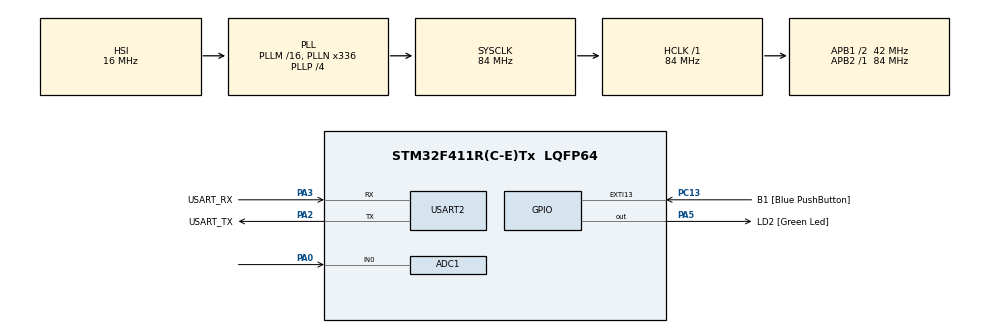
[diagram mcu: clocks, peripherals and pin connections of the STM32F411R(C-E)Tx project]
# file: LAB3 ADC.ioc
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ADC1.Channel-0\#ChannelRegularConversion=ADC_CHANNEL_0
ADC1.NbrOfConversionFlag=1
ADC1.Rank-0\#ChannelRegularConversion=1
ADC1.SamplingTime-0\#ChannelRegularConversion=ADC_SAMPLETIME_3CYCLES
ADC1.master=1
Mcu.Family=STM32F4
Mcu.Name=STM32F411R(C-E)Tx
Mcu.Package=LQFP64
NVIC.PriorityGroup=NVIC_PRIORITYGROUP_0
PA0-WKUP.Signal=ADCx_IN0
PA13.GPIO_Label=TMS
PA13.Mode=Serial_Wire
PA13.Signal=SYS_JTMS-SWDIO
PA14.GPIO_Label=TCK
PA14.Mode=Serial_Wire
PA14.Signal=SYS_JTCK-SWCLK
PA2.GPIO_Label=USART_TX
PA2.Mode=Asynchronous
PA2.Signal=USART2_TX
PA3.GPIO_Label=USART_RX
PA3.Mode=Asynchronous
PA3.Signal=USART2_RX
PA5.GPIO_Label=LD2 [Green Led]
PA5.Signal=GPIO_Output
PB3.GPIO_Label=SWO
PB3.Signal=SYS_JTDO-SWO
PC13-ANTI_TAMP.GPIO_Label=B1 [Blue PushButton]
PC13-ANTI_TAMP.GPIO_ModeDefaultEXTI=GPIO_MODE_IT_FALLING
PC13-ANTI_TAMP.Signal=GPXTI13
PC14-OSC32_IN.Mode=LSE-External-Oscillator
PC14-OSC32_IN.Signal=RCC_OSC32_IN
PC15-OSC32_OUT.Mode=LSE-External-Oscillator
PC15-OSC32_OUT.Signal=RCC_OSC32_OUT
PH0\ -\ OSC_IN.Mode=HSE-External-Clock-Source
PH0\ -\ OSC_IN.Signal=RCC_OSC_IN
PH1\ -\ OSC_OUT.Mode=HSE-External-Clock-Source
PH1\ -\ OSC_OUT.Signal=RCC_OSC_OUT
ProjectManager.HeapSize=0x200
ProjectManager.StackSize=0x400
ProjectManager.TargetToolchain=STM32CubeIDE
RCC.48MHZClocksFreq_Value=84000000
RCC.AHBFreq_Value=84000000
RCC.APB1CLKDivider=RCC_HCLK_DIV2
RCC.APB1Freq_Value=42000000
RCC.APB1TimFreq_Value=84000000
RCC.APB2Freq_Value=84000000
RCC.APB2TimFreq_Value=84000000
RCC.CortexFreq_Value=84000000
RCC.FLatency-AdvancedSettings=FLASH_LATENCY_2
RCC.HCLKFreq_Value=84000000
RCC.HSE_VALUE=8000000
RCC.HSI_VALUE=16000000
RCC.PLLN=336
RCC.PLLP=RCC_PLLP_DIV4
RCC.SYSCLKFreq_VALUE=84000000
RCC.SYSCLKSource=RCC_SYSCLKSOURCE_PLLCLK
RCC.VCOOutputFreq_Value=336000000
SH.ADCx_IN0.0=ADC1_IN0,IN0
USART2.VirtualMode=VM_ASYNC
board=NUCLEO-F411RE

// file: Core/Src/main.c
/* USER CODE BEGIN Header */
/**
  ******************************************************************************
  * @file           : main.c
  * @brief          : Main program body
  ******************************************************************************
  * @attention
  *
  * <h2><center>&copy; Copyright (c) 2021 STMicroelectronics.
  * All rights reserved.</center></h2>
  *
  * This software component is licensed by ST under BSD 3-Clause license,
  * the "License"; You may not use this file except in compliance with the
  * License. You may obtain a copy of the License at:
  *                        opensource.org/licenses/BSD-3-Clause
  *
  ******************************************************************************
  */
/* USER CODE END Header */
#include "main.h"

ADC_HandleTypeDef hadc1;

UART_HandleTypeDef huart2;

/* USER CODE BEGIN PV */
int ADCMode = 0;
float ADCOutputConverted = 0;
int V25 = 760; //mV //from datasheet
float Avg_Slope = 2.5; // from datasheet
typedef struct
{
	ADC_ChannelConfTypeDef Config;
	uint32_t Data;
} ADCStructure;

ADCStructure ADCChannel[2] = {0};

/* USER CODE END PV */

void SystemClock_Config(void);
static void MX_GPIO_Init(void);
static void MX_USART2_UART_Init(void);
static void MX_ADC1_Init(void);
/* USER CODE BEGIN PFP */
void ADCPollingMethodInit(); // init Config of 3 ADC
void ADCPollingMethodUpdate(); // read ADC From 3 Sourse(In0,In1,Temp)
/* USER CODE END PFP */

int main(void)
{

  /* MCU Configuration--------------------------------------------------------*/

  /* Reset of all peripherals, Initializes the Flash interface and the Systick. */
  HAL_Init();

  /* Configure the system clock */
  SystemClock_Config();

  /* Initialize all configured peripherals */
  MX_GPIO_Init();
  MX_USART2_UART_Init();
  MX_ADC1_Init();
  /* USER CODE BEGIN 2 */
  ADCPollingMethodInit();
  /* USER CODE END 2 */

  /* Infinite loop */
  while (1)
  {

    /* USER CODE BEGIN 3 */

	//read analog
	ADCPollingMethodUpdate();

  }
  /* USER CODE END 3 */
}

void SystemClock_Config(void)
{
  RCC_OscInitTypeDef RCC_OscInitStruct = {0};
  RCC_ClkInitTypeDef RCC_ClkInitStruct = {0};

  /** Configure the main internal regulator output voltage
  */
  __HAL_RCC_PWR_CLK_ENABLE();
  __HAL_PWR_VOLTAGESCALING_CONFIG(PWR_REGULATOR_VOLTAGE_SCALE1);
  /** Initializes the RCC Oscillators according to the specified parameters
  * in the RCC_OscInitTypeDef structure.
  */
  RCC_OscInitStruct.OscillatorType = RCC_OSCILLATORTYPE_HSI;
  RCC_OscInitStruct.HSIState = RCC_HSI_ON;
  RCC_OscInitStruct.HSICalibrationValue = RCC_HSICALIBRATION_DEFAULT;
  RCC_OscInitStruct.PLL.PLLState = RCC_PLL_ON;
  RCC_OscInitStruct.PLL.PLLSource = RCC_PLLSOURCE_HSI;
  RCC_OscInitStruct.PLL.PLLM = 16;
  RCC_OscInitStruct.PLL.PLLN = 336;
  RCC_OscInitStruct.PLL.PLLP = RCC_PLLP_DIV4;
  RCC_OscInitStruct.PLL.PLLQ = 4;
  if (HAL_RCC_OscConfig(&RCC_OscInitStruct) != HAL_OK)
  {
    Error_Handler();
  }
  /** Initializes the CPU, AHB and APB buses clocks
  */
  RCC_ClkInitStruct.ClockType = RCC_CLOCKTYPE_HCLK|RCC_CLOCKTYPE_SYSCLK
                              |RCC_CLOCKTYPE_PCLK1|RCC_CLOCKTYPE_PCLK2;
  RCC_ClkInitStruct.SYSCLKSource = RCC_SYSCLKSOURCE_PLLCLK;
  RCC_ClkInitStruct.AHBCLKDivider = RCC_SYSCLK_DIV1;
  RCC_ClkInitStruct.APB1CLKDivider = RCC_HCLK_DIV2;
  RCC_ClkInitStruct.APB2CLKDivider = RCC_HCLK_DIV1;

  if (HAL_RCC_ClockConfig(&RCC_ClkInitStruct, FLASH_LATENCY_2) != HAL_OK)
  {
    Error_Handler();
  }
}

static void MX_ADC1_Init(void)
{

  ADC_ChannelConfTypeDef sConfig = {0};

  /** Configure the global features of the ADC (Clock, Resolution, Data Alignment and number of conversion)
  */
  hadc1.Instance = ADC1;
  hadc1.Init.ClockPrescaler = ADC_CLOCK_SYNC_PCLK_DIV4;
  hadc1.Init.Resolution = ADC_RESOLUTION_12B;
  hadc1.Init.ScanConvMode = DISABLE;
  hadc1.Init.ContinuousConvMode = DISABLE;
  hadc1.Init.DiscontinuousConvMode = DISABLE;
  hadc1.Init.ExternalTrigConvEdge = ADC_EXTERNALTRIGCONVEDGE_NONE;
  hadc1.Init.ExternalTrigConv = ADC_SOFTWARE_START;
  hadc1.Init.DataAlign = ADC_DATAALIGN_RIGHT;
  hadc1.Init.NbrOfConversion = 1;
  hadc1.Init.DMAContinuousRequests = DISABLE;
  hadc1.Init.EOCSelection = ADC_EOC_SINGLE_CONV;
  if (HAL_ADC_Init(&hadc1) != HAL_OK)
  {
    Error_Handler();
  }
  /** Configure for the selected ADC regular channel its corresponding rank in the sequencer and its sample time.
  */
  sConfig.Channel = ADC_CHANNEL_0;
  sConfig.Rank = 1;
  sConfig.SamplingTime = ADC_SAMPLETIME_3CYCLES;
  if (HAL_ADC_ConfigChannel(&hadc1, &sConfig) != HAL_OK)
  {
    Error_Handler();
  }

}

static void MX_USART2_UART_Init(void)
{

  huart2.Instance = USART2;
  huart2.Init.BaudRate = 115200;
  huart2.Init.WordLength = UART_WORDLENGTH_8B;
  huart2.Init.StopBits = UART_STOPBITS_1;
  huart2.Init.Parity = UART_PARITY_NONE;
  huart2.Init.Mode = UART_MODE_TX_RX;
  huart2.Init.HwFlowCtl = UART_HWCONTROL_NONE;
  huart2.Init.OverSampling = UART_OVERSAMPLING_16;
  if (HAL_UART_Init(&huart2) != HAL_OK)
  {
    Error_Handler();
  }

}

static void MX_GPIO_Init(void)
{
  GPIO_InitTypeDef GPIO_InitStruct = {0};

  /* GPIO Ports Clock Enable */
  __HAL_RCC_GPIOC_CLK_ENABLE();
  __HAL_RCC_GPIOH_CLK_ENABLE();
  __HAL_RCC_GPIOA_CLK_ENABLE();
  __HAL_RCC_GPIOB_CLK_ENABLE();

  /*Configure GPIO pin Output Level */
  HAL_GPIO_WritePin(LD2_GPIO_Port, LD2_Pin, GPIO_PIN_RESET);

  /*Configure GPIO pin : B1_Pin */
  GPIO_InitStruct.Pin = B1_Pin;
  GPIO_InitStruct.Mode = GPIO_MODE_IT_FALLING;
  GPIO_InitStruct.Pull = GPIO_NOPULL;
  HAL_GPIO_Init(B1_GPIO_Port, &GPIO_InitStruct);

  /*Configure GPIO pin : LD2_Pin */
  GPIO_InitStruct.Pin = LD2_Pin;
  GPIO_InitStruct.Mode = GPIO_MODE_OUTPUT_PP;
  GPIO_InitStruct.Pull = GPIO_NOPULL;
  GPIO_InitStruct.Speed = GPIO_SPEED_FREQ_LOW;
  HAL_GPIO_Init(LD2_GPIO_Port, &GPIO_InitStruct);

}

/* USER CODE BEGIN 4 */

void ADCPollingMethodInit()
{

	//PA0 - ADC IN0
	ADCChannel[0].Config.Channel = ADC_CHANNEL_0;
	ADCChannel[0].Config.Rank = 1;
	ADCChannel[0].Config.SamplingTime = ADC_SAMPLETIME_3CYCLES;

	//Temp
	ADCChannel[1].Config.Channel = ADC_CHANNEL_TEMPSENSOR;
	ADCChannel[1].Config.Rank = 1;
	ADCChannel[1].Config.SamplingTime = ADC_SAMPLETIME_3CYCLES;

}
void ADCPollingMethodUpdate()
{
	if(HAL_GPIO_ReadPin(GPIOC, GPIO_PIN_13) == GPIO_PIN_RESET)
	{
		ADCMode = 1;
		HAL_ADC_ConfigChannel(&hadc1, &ADCChannel[1].Config); // select channal
		HAL_ADC_Start(&hadc1); // ADC sampling ,Convert
		if(HAL_ADC_PollForConversion(&hadc1, 10) == HAL_OK) // Wait ADC
		{
			ADCChannel[1].Data = HAL_ADC_GetValue(&hadc1); // Get Value
		}
		HAL_ADC_Stop(&hadc1); // Stop
		ADCOutputConverted = (((((ADCChannel[1].Data * 3.3 * 1000) / 4096) - V25) / Avg_Slope ) + 25); // output
	}
	else
	{
		ADCMode = 0;
		HAL_ADC_ConfigChannel(&hadc1, &ADCChannel[0].Config); // select channal
		HAL_ADC_Start(&hadc1); // ADC sampling ,Convert
		if(HAL_ADC_PollForConversion(&hadc1, 10) == HAL_OK) // Wait ADC
		{
			ADCChannel[0].Data = HAL_ADC_GetValue(&hadc1); // Get Value
		}
		HAL_ADC_Stop(&hadc1); // Stop
		ADCOutputConverted = (((ADCChannel[0].Data *3.3)/4096)*1000); // output
	}
}
/* USER CODE END 4 */

void Error_Handler(void)
{
  __disable_irq();
  while (1)
  {
  }
}

/************************ (C) COPYRIGHT STMicroelectronics *****END OF FILE****/
